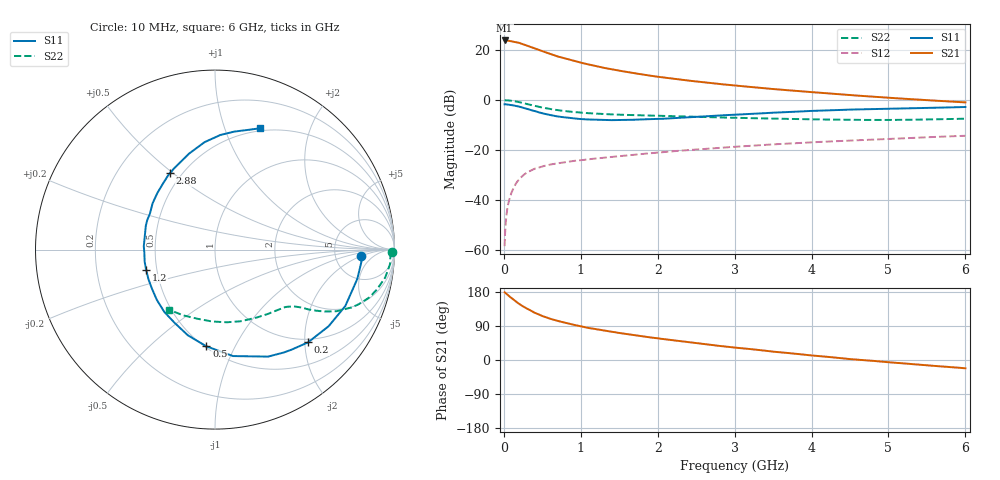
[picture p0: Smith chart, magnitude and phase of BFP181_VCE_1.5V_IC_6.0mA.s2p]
! Infineon Technologies  Discrete & RF Semiconductors
! BFP181
! VCE = 1.5 V,  IC =  6.0 mA
! Common Emitter S-Parameters:  Jan 2016
# GHz  S  MA  R  50
!  f  S11  S21  S12  S22
! GHz  MAG  ANG  MAG  ANG  MAG  ANG  MAG  ANG
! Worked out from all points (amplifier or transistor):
!   210 points, 10 MHz to 6 GHz, reference 50 ohm
!   highest |S21| = 23.7 dB at 10 MHz (marker M1)
!   |S21| within 3 dB of that: start of sweep to 386.2 MHz
!   unconditionally stable (mu >= 1): 1.338 GHz to end of sweep
!   at 185 MHz: K = 0.21, MSG = 27.5 dB, |S12| = -32.2 dB
!   at 1.52 GHz: K = 1.06, MAG = 15.5 dB, |S12| = -22.4 dB
!   at 6 GHz: K = 1.06, MAG = 5.2 dB, |S12| = -14.3 dB
!   S11 on the Smith chart (normalised r, x): 10 MHz: 9.36, -2.06; 200 MHz: 0.93, -2.07; 500 MHz: 0.51, -0.78; 1.2 GHz: 0.44, -0.12; 2.88 GHz: 0.43, +0.49; 6 GHz: 0.47, +1.32
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0.01  0.8152 -2.6  15.34 178.4  0.0012 83.5  0.9849 -0.9
0.02  0.8185 -4.8  15.25 177.1  0.0028 84.2  0.978 -1.8
0.04  0.8113 -9.3  15.22 173.4  0.0059 87.5  0.978 -3.8
0.1  0.7911 -23.4  14.77 163.3  0.0141 76.0  0.9611 -9.3
0.15  0.7636 -34.0  14.25 155.3  0.0206 72.1  0.9321 -13.5
0.2  0.732 -44.9  13.71 147.9  0.0262 67.4  0.9005 -17.2
0.24  0.7023 -52.5  13.02 142.6  0.03 64.2  0.8687 -19.8
0.3  0.6656 -63.6  12.14 135.7  0.0354 59.5  0.8259 -23.0
0.4  0.6015 -80.4  10.69 124.7  0.0421 53.9  0.7588 -26.9
0.5  0.5409 -95.1  9.342 116.0  0.0468 49.2  0.7021 -29.4
0.6  0.5007 -107.6  8.317 109.0  0.0511 46.9  0.6568 -31.2
0.7  0.4664 -118.7  7.354 103.1  0.0541 45.0  0.6221 -32.5
0.8  0.4479 -129.0  6.681 97.8  0.057 43.6  0.5959 -33.3
1.02  0.4115 -149.4  5.427 88.0  0.0627 42.4  0.5533 -35.1
1.2  0.4003 -163.3  4.694 81.3  0.0677 41.4  0.5311 -36.6
1.52  0.3969 176.3  3.785 70.7  0.0759 41.0  0.5045 -39.5
2.02  0.4154 150.5  2.868 56.6  0.0891 39.9  0.479 -45.5
2.88  0.4945 120.3  2.017 35.5  0.1124 36.3  0.4437 -58.7
3.1  0.5141 114.4  1.875 30.9  0.1183 35.1  0.4346 -62.6
4.1  0.6081 93.8  1.389 10.3  0.1444 28.9  0.407 -83.1
5.1  0.6705 79.5  1.077 -7.4  0.1682 22.6  0.3979 -106.2
6  0.7201 69.8  0.89 -21.9  0.1919 16.1  0.4217 -127.3
